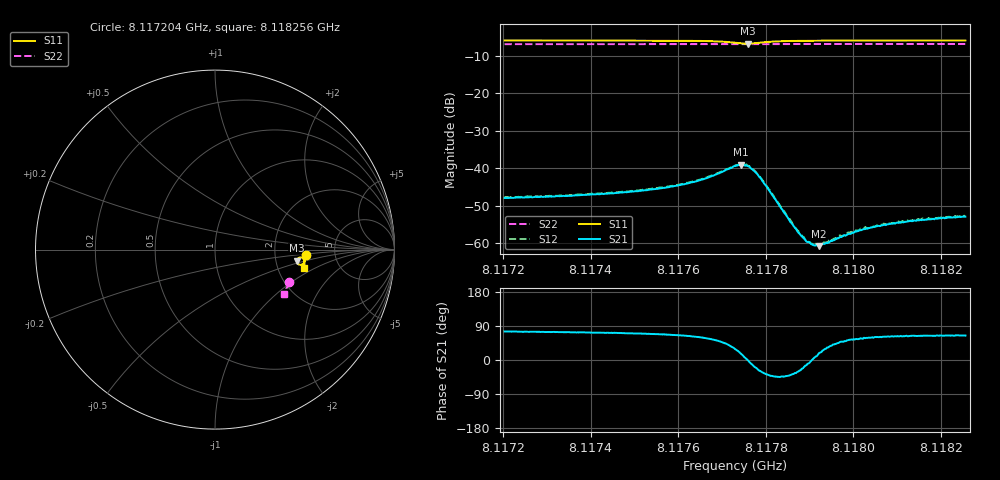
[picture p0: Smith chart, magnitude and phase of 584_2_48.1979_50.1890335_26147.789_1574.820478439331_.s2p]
#  HZ  S  RI  R  50.00
! Rohde & Schwarz Vector Network Analyzer
! Rohde-Schwarz,ZNB20-2Port,1311601062101988,3.16
! Created: UTC 3/20/2024, 12:02:13 PM
! freq[Hz]  re:S11  im:S11  re:S21  im:S21  re:S12  im:S12  re:S22  im:S22
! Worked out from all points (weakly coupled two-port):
!   401 points, 8.117204 GHz to 8.118256 GHz, reference 50 ohm
!   highest |S21| = -39.08 dB at 8.117743 GHz (marker M1); lowest = -60.8 dB at 8.117922 GHz (marker M2)
!   lowest |S11| = -6.8 dB at 8.117759 GHz (marker M3), VSWR 2.70, Z = 131 - j20.2 ohm
!   |S11| at or under -10 dB: nowhere
!   |S22| runs from -6.9 to -6.8 dB; largest |S21 - S12| = 0.00036
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8.1172039e9  0.5055 -0.0311  0.00102 0.00389  0.00107 0.00394  0.4137 -0.1819
8.1173801e9  0.5038 -0.0459  0.0013 0.0042  0.00134 0.00428  0.4091 -0.1935
8.1174826e9  0.5021 -0.0554  0.00158 0.00451  0.00166 0.00459  0.4062 -0.2
8.1175562e9  0.5002 -0.0631  0.002 0.00498  0.00212 0.00511  0.4039 -0.2047
8.1176456e9  0.4941 -0.0751  0.00333 0.00597  0.00342 0.00609  0.4012 -0.2106
8.1176824e9  0.4874 -0.0814  0.00484 0.00646  0.00493 0.0066  0.3998 -0.2131
8.1177298e9  0.4656 -0.0821  0.00934 0.00517  0.00946 0.0053  0.3974 -0.2156
8.1177429e9  0.4582 -0.0749  0.0106 0.00325  0.0108 0.00337  0.3967 -0.216
8.1177587e9  0.4552 -0.0608  0.0107 -1.09e-05  0.0108 -0.000349  0.3961 -0.2162
8.1177692e9  0.4591 -0.0516  0.00946 -0.00204  0.00962 -0.00233  0.3962 -0.2165
8.117785e9  0.47 -0.0443  0.00682 -0.00362  0.00707 -0.00358  0.3963 -0.2171
8.1178665e9  0.4964 -0.0583  0.00133 -0.000912  0.00133 -0.000931  0.3949 -0.2231
8.117877e9  0.4974 -0.0604  0.00119 -0.000629  0.00121 -0.000635  0.3947 -0.2238
8.1178928e9  0.498 -0.0632  0.00102 -0.000249  0.00108 -0.000268  0.3942 -0.2249
8.117906e9  0.4985 -0.0652  0.000963 9.89e-06  0.000966 -9.14e-06  0.3937 -0.2257
8.1179217e9  0.4987 -0.0677  0.000868 0.000288  0.000921 0.000291  0.3931 -0.2268
8.1179769e9  0.4991 -0.0747  0.000839 0.000946  0.000836 0.000923  0.3914 -0.2304
8.1179901e9  0.499 -0.0763  0.000802 0.00107  0.000883 0.00107  0.3909 -0.2311
8.118019e9  0.4988 -0.0791  0.000825 0.00125  0.0008 0.0013  0.3899 -0.233
8.1180821e9  0.4981 -0.0853  0.000865 0.00159  0.000871 0.00163  0.3877 -0.2369
8.1181531e9  0.4971 -0.0916  0.000906 0.00185  0.000895 0.00187  0.3853 -0.2414
8.1182557e9  0.4957 -0.1001  0.000976 0.00204  0.000957 0.0021  0.3818 -0.2475
